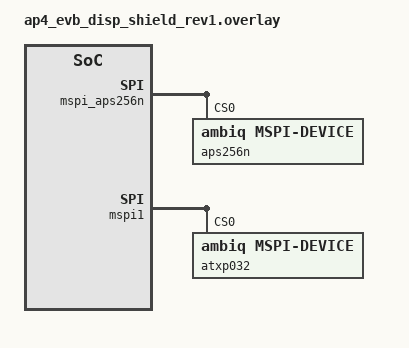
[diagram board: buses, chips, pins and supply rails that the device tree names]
/*
 * Copyright (c) 2025, Ambiq Micro Inc. <www.ambiq.com>
 *
 * SPDX-License-Identifier: Apache-2.0
 */

/ {
	aliases {
		psram0 = &aps256n;
		flash0 = &atxp032;
	};
};

&mspi_aps256n {
	pinctrl-0 = <&mspi0_default>;
	pinctrl-1 = <&mspi0_sleep>;
	pinctrl-2 = <&mspi0_psram>;
	pinctrl-names = "default","sleep","psram";
	status = "okay";

	ce-gpios = <&gpio32_63 25 GPIO_ACTIVE_LOW>;

	cmdq-buffer-location = ".ambiq_dma_buff";
	cmdq-buffer-size = <256>;

	ambiq,apmemory;
	dqs-support;

	aps256n: aps_z8@0 {
		compatible = "ambiq,mspi-device", "mspi-aps-z8";
		size = <DT_SIZE_M(256)>;
		reg = <0>;
		status = "okay";
		mspi-max-frequency = <48000000>;
		mspi-io-mode = "MSPI_IO_MODE_OCTAL";
		mspi-data-rate = "MSPI_DATA_RATE_S_D_D";
		mspi-hardware-ce-num = <0>;
		mspi-dqs-enable;
		read-command = <0x20>;
		write-command = <0xA0>;
		command-length = "INSTR_1_BYTE";
		address-length = "ADDR_4_BYTE";
		rx-dummy = <3>;
		tx-dummy = <3>;
		xip-config = <1 0 DT_SIZE_M(32) 0>;
		ce-break-config = <1024 2>;
		ambiq,timing-config-mask = <0x62>;
		ambiq,timing-config = <3 3 1 0 0 0 16>;
		zephyr,pm-device-runtime-auto;
	};
};

&gpio32_63 {
	status = "okay";
};

&mspi1 {
	pinctrl-0 = <&mspi1_default>;
	pinctrl-1 = <&mspi1_sleep>;
	pinctrl-2 = <&mspi1_flash>;
	pinctrl-names = "default","sleep","flash";
	status = "okay";

	ce-gpios = <&gpio64_95 25 GPIO_ACTIVE_LOW>;

	cmdq-buffer-location = ".ambiq_dma_buff";
	cmdq-buffer-size = <256>;

	dqs-support;

	atxp032: atxp032@0 {
		compatible = "ambiq,mspi-device", "mspi-atxp032";
		size = <DT_SIZE_M(32)>;
		reg = <0>;
		status = "okay";
		mspi-max-frequency = <48000000>;
		mspi-io-mode = "MSPI_IO_MODE_OCTAL";
		mspi-data-rate = "MSPI_DATA_RATE_SINGLE";
		mspi-hardware-ce-num = <0>;
		read-command = <0x0B>;
		write-command = <0x02>;
		command-length = "INSTR_1_BYTE";
		address-length = "ADDR_4_BYTE";
		rx-dummy = <8>;
		tx-dummy = <0>;
		xip-config = <1 0 DT_SIZE_M(4) 0>;
		ce-break-config = <0 0>;
		ambiq,timing-config-mask = <0x62>;
		ambiq,timing-config = <0 8 0 0 0 0 16>;
		scramble-config = <0 0 0>;
		mspi-dqs-enable;
	};
};

&gpio64_95 {
	status = "okay";
};

&pinctrl {
	mspi0_sleep: mspi0_sleep{
		group1 {
			pinmux = <GPIO_P64>,
				 <GPIO_P65>,
				 <GPIO_P66>,
				 <GPIO_P67>,
				 <GPIO_P68>,
				 <GPIO_P69>,
				 <GPIO_P70>,
				 <GPIO_P71>,
				 <GPIO_P72>,
				 <GPIO_P73>,
				 <GPIO_P37>,
				 <GPIO_P38>,
				 <GPIO_P39>,
				 <GPIO_P40>,
				 <GPIO_P41>,
				 <GPIO_P42>,
				 <GPIO_P43>,
				 <GPIO_P44>,
				 <GPIO_P45>,
				 <GPIO_P57>;
		};
	};
	mspi0_psram: mspi0_psram{
		group1 {
			pinmux = <MSPI0_0_P64>,
				 <MSPI0_1_P65>,
				 <MSPI0_2_P66>,
				 <MSPI0_3_P67>,
				 <MSPI0_4_P68>,
				 <MSPI0_5_P69>,
				 <MSPI0_6_P70>,
				 <MSPI0_7_P71>,
				 <MSPI0_8_P72>,
				 <MSPI0_9_P73>,
				 <MSPI1_0_P37>,
				 <MSPI1_1_P38>,
				 <MSPI1_2_P39>,
				 <MSPI1_3_P40>,
				 <MSPI1_4_P41>,
				 <MSPI1_5_P42>,
				 <MSPI1_6_P43>,
				 <MSPI1_7_P44>,
				 <MSPI1_8_P45>;
			drive-strength = "1.0";
		};
		group2 {
			pinmux = <NCE57_P57>;
			drive-strength = "0.5";
			ambiq,nce-src = <32>;
		};
	};
	mspi1_sleep: mspi1_sleep{
		group1 {
			pinmux = <GPIO_P37>,
				 <GPIO_P38>,
				 <GPIO_P39>,
				 <GPIO_P40>,
				 <GPIO_P41>,
				 <GPIO_P42>,
				 <GPIO_P43>,
				 <GPIO_P44>,
				 <GPIO_P45>,
				 <GPIO_P46>,
				 <GPIO_P89>;
		};
	};
	mspi1_flash: mspi1_flash{
		group1 {
			pinmux = <MSPI1_0_P37>,
				 <MSPI1_1_P38>,
				 <MSPI1_2_P39>,
				 <MSPI1_3_P40>,
				 <MSPI1_4_P41>,
				 <MSPI1_5_P42>,
				 <MSPI1_6_P43>,
				 <MSPI1_7_P44>,
				 <MSPI1_8_P45>,
				 <MSPI1_9_P46>;
			drive-strength = "1.0";
		};
		group3 {
			pinmux = <NCE89_P89>;
			drive-strength = "0.5";
			ambiq,nce-src = <34>;
		};
	};
};
